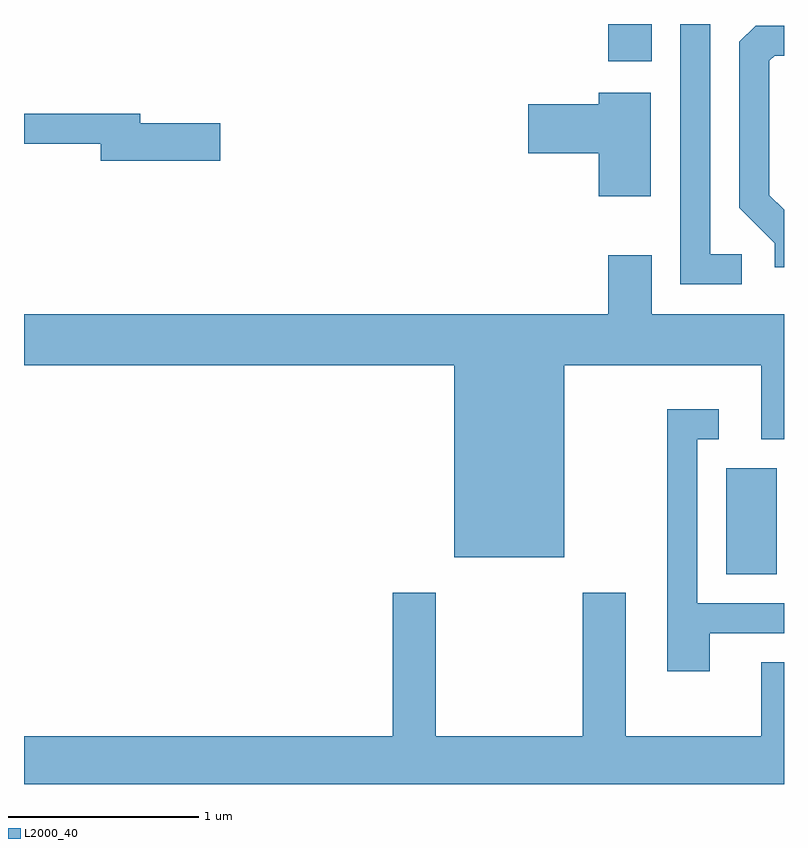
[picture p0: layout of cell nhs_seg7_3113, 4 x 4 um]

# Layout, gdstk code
import gdstk
lib = gdstk.Library(unit=1e-6, precision=1e-09)
def R(c, l, rs):  # rectangles x0, y0, x1, y1
    for r in rs: c.add(gdstk.rectangle(r[:2], r[2:], *l))
def P(c, l, *ps):  # polygons
    for p in ps: c.add(gdstk.Polygon(p, *l))
L2000_40 = (2000, 40)

nhs_seg7_3113 = lib.new_cell('nhs_seg7_3113')
R(nhs_seg7_3113, L2000_40, [(283.306,1795.356,283.574,1795.914), (282.686,1798.056,282.914,1798.252)])
P(nhs_seg7_3113, L2000_40, [(283.388,1797.039),(283.224,1797.039),(283.224,1798.252),(283.066,1798.252),(283.066,1796.881),(283.388,1796.881)],
  [(283.611,1797.275),(283.534,1797.352),(283.534,1798.059),(283.562,1798.086),(283.611,1798.086),(283.611,1798.244),(283.462,1798.244),(283.376,1798.159),(283.376,1797.284),(283.561,1797.099),(283.561,1796.971),(283.611,1796.971)],
  [(282.909,1797.889),(282.636,1797.889),(282.636,1797.829),(282.266,1797.829),(282.266,1797.571),(282.636,1797.571),(282.636,1797.346),(282.909,1797.346)],
  [(280.644,1797.729),(280.224,1797.729),(280.224,1797.779),(279.611,1797.779),(279.611,1797.621),(280.016,1797.621),(280.016,1797.531),(280.644,1797.531)],
  [(282.454,1796.456),(283.491,1796.456),(283.491,1796.066),(283.611,1796.066),(283.611,1796.724),(282.914,1796.724),(282.914,1797.034),(282.686,1797.034),(282.686,1796.724),(279.611,1796.724),(279.611,1796.456),(281.876,1796.456),(281.876,1795.446),(282.454,1795.446)],
  [(283.219,1795.046),(283.611,1795.046),(283.611,1795.204),(283.154,1795.204),(283.154,1796.066),(283.268,1796.066),(283.268,1796.224),(282.996,1796.224),(282.996,1794.846),(283.219,1794.846)],
  [(283.611,1794.894),(283.491,1794.894),(283.491,1794.504),(282.779,1794.504),(282.779,1795.259),(282.551,1795.259),(282.551,1794.504),(281.779,1794.504),(281.779,1795.259),(281.551,1795.259),(281.551,1794.504),(279.611,1794.504),(279.611,1794.252),(283.611,1794.252)])

lib.write_gds('nhs_seg7_3113.gds')
